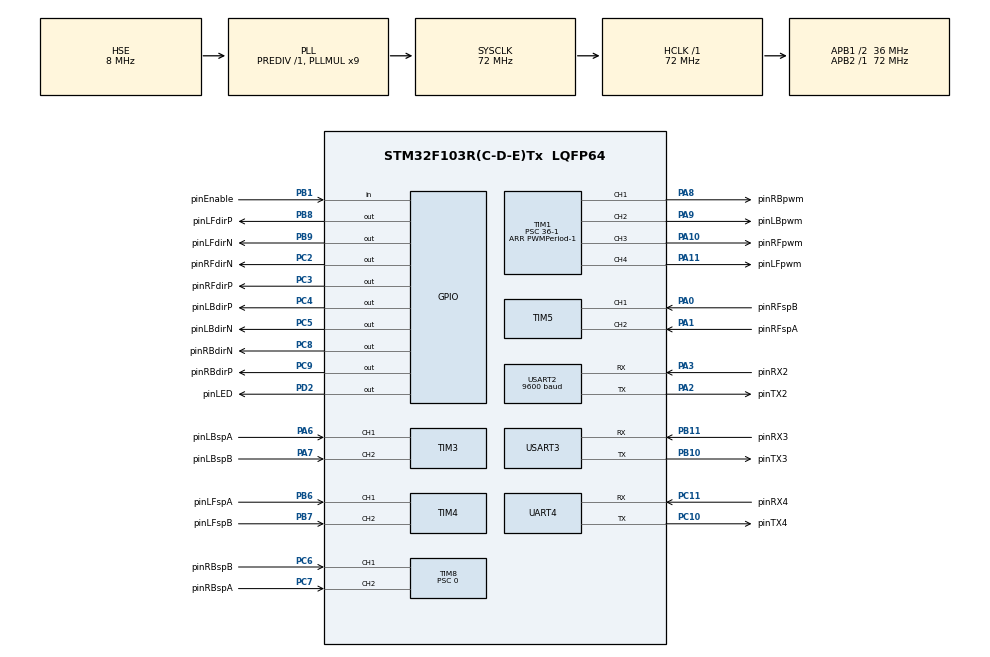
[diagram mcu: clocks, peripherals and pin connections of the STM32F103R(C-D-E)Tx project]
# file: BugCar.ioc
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Dma.Request0=UART4_RX
Dma.Request1=USART2_TX
Dma.Request2=USART3_RX
Dma.UART4_RX.0.Direction=DMA_PERIPH_TO_MEMORY
Dma.UART4_RX.0.Instance=DMA2_Channel3
Dma.UART4_RX.0.MemDataAlignment=DMA_MDATAALIGN_BYTE
Dma.UART4_RX.0.MemInc=DMA_MINC_ENABLE
Dma.UART4_RX.0.Mode=DMA_NORMAL
Dma.UART4_RX.0.PeriphDataAlignment=DMA_PDATAALIGN_BYTE
Dma.UART4_RX.0.PeriphInc=DMA_PINC_DISABLE
Dma.UART4_RX.0.Priority=DMA_PRIORITY_VERY_HIGH
Dma.USART2_TX.1.Direction=DMA_MEMORY_TO_PERIPH
Dma.USART2_TX.1.Instance=DMA1_Channel7
Dma.USART2_TX.1.MemDataAlignment=DMA_MDATAALIGN_BYTE
Dma.USART2_TX.1.MemInc=DMA_MINC_ENABLE
Dma.USART2_TX.1.Mode=DMA_NORMAL
Dma.USART2_TX.1.PeriphDataAlignment=DMA_PDATAALIGN_BYTE
Dma.USART2_TX.1.PeriphInc=DMA_PINC_DISABLE
Dma.USART2_TX.1.Priority=DMA_PRIORITY_MEDIUM
Dma.USART3_RX.2.Direction=DMA_PERIPH_TO_MEMORY
Dma.USART3_RX.2.Instance=DMA1_Channel3
Dma.USART3_RX.2.MemDataAlignment=DMA_MDATAALIGN_BYTE
Dma.USART3_RX.2.MemInc=DMA_MINC_ENABLE
Dma.USART3_RX.2.Mode=DMA_NORMAL
Dma.USART3_RX.2.PeriphDataAlignment=DMA_PDATAALIGN_BYTE
Dma.USART3_RX.2.PeriphInc=DMA_PINC_DISABLE
Dma.USART3_RX.2.Priority=DMA_PRIORITY_VERY_HIGH
Mcu.Family=STM32F1
Mcu.Name=STM32F103R(C-D-E)Tx
Mcu.Package=LQFP64
Mcu.UserConstants=PIDPeriod,5000;PWMPeriod,10800;UnitFreq,100000
NVIC.DMA1_Channel3_IRQn=true\:10\:0\:true\:false\:true\:false\:true
NVIC.DMA1_Channel7_IRQn=true\:0\:0\:true\:false\:true\:false\:true
NVIC.DMA2_Channel3_IRQn=true\:10\:0\:true\:false\:true\:false\:true
NVIC.PriorityGroup=NVIC_PRIORITYGROUP_4
NVIC.TIM2_IRQn=true\:14\:0\:true\:false\:true\:true\:true
NVIC.UART4_IRQn=true\:10\:0\:true\:false\:true\:true\:true
NVIC.USART2_IRQn=true\:0\:0\:false\:false\:true\:true\:true
NVIC.USART3_IRQn=true\:10\:0\:true\:false\:true\:true\:true
PA0-WKUP.GPIO_Label=pinRFspB
PA0-WKUP.Signal=S_TIM5_CH1
PA1.GPIO_Label=pinRFspA
PA1.Signal=S_TIM5_CH2
PA10.GPIO_Label=pinRFpwm
PA10.Signal=S_TIM1_CH3
PA11.GPIO_Label=pinLFpwm
PA11.Signal=S_TIM1_CH4
PA13.Mode=Serial_Wire
PA13.Signal=SYS_JTMS-SWDIO
PA14.Mode=Serial_Wire
PA14.Signal=SYS_JTCK-SWCLK
PA2.GPIO_Label=pinTX2
PA2.Mode=Asynchronous
PA2.Signal=USART2_TX
PA3.GPIO_Label=pinRX2
PA3.Mode=Asynchronous
PA3.Signal=USART2_RX
PA6.GPIO_Label=pinLBspA
PA6.Signal=S_TIM3_CH1
PA7.GPIO_Label=pinLBspB
PA7.Signal=S_TIM3_CH2
PA8.GPIO_Label=pinRBpwm
PA8.Signal=S_TIM1_CH1
PA9.GPIO_Label=pinLBpwm
PA9.Signal=S_TIM1_CH2
PB1.GPIO_Label=pinEnable
PB1.GPIO_PuPd=GPIO_PULLUP
PB1.Signal=GPIO_Input
PB10.GPIO_Label=pinTX3
PB10.Mode=Asynchronous
PB10.Signal=USART3_TX
PB11.GPIO_Label=pinRX3
PB11.Mode=Asynchronous
PB11.Signal=USART3_RX
PB6.GPIO_Label=pinLFspA
PB6.Signal=S_TIM4_CH1
PB7.GPIO_Label=pinLFspB
PB7.Signal=S_TIM4_CH2
PB8.GPIO_Label=pinLFdirP
PB8.Signal=GPIO_Output
PB9.GPIO_Label=pinLFdirN
PB9.Signal=GPIO_Output
PC10.GPIO_Label=pinTX4
PC10.Mode=Asynchronous
PC10.Signal=UART4_TX
PC11.GPIO_Label=pinRX4
PC11.Mode=Asynchronous
PC11.Signal=UART4_RX
PC2.GPIO_Label=pinRFdirN
PC2.Signal=GPIO_Output
PC3.GPIO_Label=pinRFdirP
PC3.Signal=GPIO_Output
PC4.GPIO_Label=pinLBdirP
PC4.Signal=GPIO_Output
PC5.GPIO_Label=pinLBdirN
PC5.Signal=GPIO_Output
PC6.GPIO_Label=pinRBspB
PC6.Signal=S_TIM8_CH1
PC7.GPIO_Label=pinRBspA
PC7.Signal=S_TIM8_CH2
PC8.GPIO_Label=pinRBdirN
PC8.Signal=GPIO_Output
PC9.GPIO_Label=pinRBdirP
PC9.Signal=GPIO_Output
PD0-OSC_IN.Mode=HSE-External-Oscillator
PD0-OSC_IN.Signal=RCC_OSC_IN
PD1-OSC_OUT.Mode=HSE-External-Oscillator
PD1-OSC_OUT.Signal=RCC_OSC_OUT
PD2.GPIO_Label=pinLED
PD2.Signal=GPIO_Output
ProjectManager.HeapSize=0x200
ProjectManager.StackSize=0x400
ProjectManager.TargetToolchain=Makefile
RCC.AHBFreq_Value=72000000
RCC.APB1CLKDivider=RCC_HCLK_DIV2
RCC.APB1Freq_Value=36000000
RCC.APB1TimFreq_Value=72000000
RCC.APB2Freq_Value=72000000
RCC.APB2TimFreq_Value=72000000
RCC.HCLKFreq_Value=72000000
RCC.PLLMUL=RCC_PLL_MUL9
RCC.PLLSourceVirtual=RCC_PLLSOURCE_HSE
RCC.SYSCLKFreq_VALUE=72000000
RCC.SYSCLKSource=RCC_SYSCLKSOURCE_PLLCLK
RCC.USBFreq_Value=72000000
SH.S_TIM1_CH1.0=TIM1_CH1,PWM Generation1 CH1
SH.S_TIM1_CH2.0=TIM1_CH2,PWM Generation2 CH2
SH.S_TIM1_CH3.0=TIM1_CH3,PWM Generation3 CH3
SH.S_TIM1_CH4.0=TIM1_CH4,PWM Generation4 CH4
SH.S_TIM3_CH1.0=TIM3_CH1,Encoder_Interface
SH.S_TIM3_CH2.0=TIM3_CH2,Encoder_Interface
SH.S_TIM4_CH1.0=TIM4_CH1,Encoder_Interface
SH.S_TIM4_CH2.0=TIM4_CH2,Encoder_Interface
SH.S_TIM5_CH1.0=TIM5_CH1,Encoder_Interface
SH.S_TIM5_CH2.0=TIM5_CH2,Encoder_Interface
SH.S_TIM8_CH1.0=TIM8_CH1,Encoder_Interface
SH.S_TIM8_CH2.0=TIM8_CH2,Encoder_Interface
TIM1.Channel-PWM\ Generation1\ CH1=TIM_CHANNEL_1
TIM1.Channel-PWM\ Generation2\ CH2=TIM_CHANNEL_2
TIM1.Channel-PWM\ Generation3\ CH3=TIM_CHANNEL_3
TIM1.Channel-PWM\ Generation4\ CH4=TIM_CHANNEL_4
TIM1.Period=PWMPeriod-1
TIM1.Prescaler=36-1
TIM2.Period=PIDPeriod-1
TIM2.Prescaler=720-1
TIM3.EncoderMode=TIM_ENCODERMODE_TI12
TIM4.EncoderMode=TIM_ENCODERMODE_TI12
TIM5.EncoderMode=TIM_ENCODERMODE_TI12
TIM8.EncoderMode=TIM_ENCODERMODE_TI12
TIM8.Period=65535
TIM8.Prescaler=0
UART4.VirtualMode=Asynchronous
USART2.BaudRate=9600
USART2.VirtualMode=VM_ASYNC
USART3.VirtualMode=VM_ASYNC
VP_TIM1_VS_ClockSourceINT.Mode=Internal
VP_TIM2_VS_ClockSourceINT.Mode=Internal
board=custom

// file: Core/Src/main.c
/* USER CODE BEGIN Header */
/**
  ******************************************************************************
  * @file           : main.c
  * @brief          : Main program body
  ******************************************************************************
  * @attention
  *
  * <h2><center>&copy; Copyright (c) 2021 STMicroelectronics.
  * All rights reserved.</center></h2>
  *
  * This software component is licensed by ST under BSD 3-Clause license,
  * the "License"; You may not use this file except in compliance with the
  * License. You may obtain a copy of the License at:
  *                        opensource.org/licenses/BSD-3-Clause
  *
  ******************************************************************************
  */
  /* USER CODE END Header */
  /* Includes ------------------------------------------------------------------*/
#include "main.h"
#include "dma.h"
#include "tim.h"
#include "usart.h"
#include "gpio.h"
#include "strategy.h"

/* USER CODE BEGIN Includes */
#include <stdbool.h>
#include "delay.h"
#include "pwm.h"
#include "gyro.h"
#include "ctrl.h"
#include "round1.h"
#include "round2.h"
#include "zigbee.h"
/* USER CODE END Includes */

/* USER CODE BEGIN PV */
uint8_t maintestcount = 0;
/* USER CODE END PV */

void SystemClock_Config(void);

/* USER CODE BEGIN 0 */
/**
 * @brief TIM中断回调函数
 * @param htim 触发中断的TIM指针
 */
void HAL_TIM_PeriodElapsedCallback(TIM_HandleTypeDef* htim) {
  if (htim == &TIM_PID) {
    TIM_PID_Callback();
  }
}

/**
 * @brief UART的中断(空闲中断)
 */
void HAL_USER_UART_IRQHandler(UART_HandleTypeDef* huart) {
  if (huart == &UART_GYRO) {
    // 确认是否为空闲中断
    if (RESET != __HAL_UART_GET_FLAG(huart, UART_FLAG_IDLE)) {
      // 清除空闲中断标志
      __HAL_UART_CLEAR_IDLEFLAG(huart);
      // 调用处理函数
      gyroMessageRecord();
    }
  }
}

/**
 * @brief 初始化
 */
void setup(void) {
  delay_init();
  gyro_init_default(&UART_GYRO);
  zigbee_Init(&huart3);
  HAL_GPIO_WritePin(pinLED_GPIO_Port, pinLED_Pin, GPIO_PIN_SET);
  delay_ms(2000);
  HAL_GPIO_WritePin(pinLED_GPIO_Port, pinLED_Pin, GPIO_PIN_RESET);
  pwm_start();
  gyro_start();
}

/**
 * @brief 主循环
 */
void loop(void) {
  // 检验小端序
  // HAL_GPIO_WritePin(pinLED_GPIO_Port, pinLED_Pin, findCPUEndian());
  // delay_ms(400);
  // HAL_GPIO_TogglePin(pinLED_GPIO_Port, pinLED_Pin);
  // delay_ms(100);

  // if (HAL_GPIO_ReadPin(pinEnable_GPIO_Port, pinEnable_Pin) == GPIO_PIN_RESET) {
  //   HAL_GPIO_TogglePin(pinLED_GPIO_Port, pinLED_Pin);
  // } else {
  //   HAL_GPIO_WritePin(pinLED_GPIO_Port, pinLED_Pin, GPIO_PIN_RESET);
  // }

  // if (HAL_GPIO_ReadPin(pinEnable_GPIO_Port, pinEnable_Pin) != GPIO_PIN_RESET) {
  //   ++maintestcount;
  //   if (maintestcount >= 5) {
  //     maintestcount -= 5;
  //     HAL_GPIO_TogglePin(pinLED_GPIO_Port, pinLED_Pin);
  //   }
  //   setSpeedStraight0();
  //   setAngle(getRealAngle());
  // } else {
  //   HAL_GPIO_WritePin(pinLED_GPIO_Port, pinLED_Pin, GPIO_PIN_RESET);
  //   setSpeedStraight0();
    // // 转弯前角度
    // float angle0 = getRealAngle();

  // if (HAL_GPIO_ReadPin(pinEnable_GPIO_Port, pinEnable_Pin) != GPIO_PIN_RESET) {
  //   ++maintestcount;
  //   if (maintestcount >= 5) {
  //     maintestcount -= 5;
  //     HAL_GPIO_TogglePin(pinLED_GPIO_Port, pinLED_Pin);
  //   }
  //   setSpeedStraight0();
  //   setAngle(getRealAngle());
  // } else {
  //   HAL_GPIO_WritePin(pinLED_GPIO_Port, pinLED_Pin, GPIO_PIN_RESET);
  //   setSpeedStraight0();

  //   // 转弯前角度
  //   float angle0 = getRealAngle();
  //   for (int i = 0;i < 12;++i) {
  //     setAngle(angle0 - 60 * (i + 1));
  //     while (!isAngleCompleted()) {
  //       if (HAL_GPIO_ReadPin(pinEnable_GPIO_Port, pinEnable_Pin) != GPIO_PIN_RESET) {
  //         return;
  //       }
  //       delay_ms(10);
  //     }
  //     HAL_GPIO_TogglePin(pinLED_GPIO_Port, pinLED_Pin);
  //     delay_ms(500);
  //   }
  //   HAL_GPIO_WritePin(pinLED_GPIO_Port, pinLED_Pin, GPIO_PIN_SET);
  //   delay_ms(5000);

    // setAngle(angle0);
    // for (int i = 0;i < 4;++i) {
    //   setSpeedStraight(40, 30);
    //   while (!isDisCompleted()) {
    //     if (HAL_GPIO_ReadPin(pinEnable_GPIO_Port, pinEnable_Pin) != GPIO_PIN_RESET) {
    //       return;
    //     }
    //     delay_ms(10);
    //   }
    //   setAngle(angle0 - 90 * (i + 1));
    //   while (!isAngleCompleted()) {
    //     if (HAL_GPIO_ReadPin(pinEnable_GPIO_Port, pinEnable_Pin) != GPIO_PIN_RESET) {
    //       return;
    //     }
    //     delay_ms(10);
    //   }
    // }
    // // 防过热暂停
    // delay_ms(1000);

    // for (int i = 0;i < 4;++i) {
    //   setAngle(angle0 + 90 * (i + 1));
    //   while (!isAngleCompleted()) {
    //     if (HAL_GPIO_ReadPin(pinEnable_GPIO_Port, pinEnable_Pin) != GPIO_PIN_RESET) {
    //       return;
    //     }
    //     delay_ms(10);
    //   }
    //   setSpeedStraight(-40, 30);
    //   while (!isDisCompleted()) {
    //     if (HAL_GPIO_ReadPin(pinEnable_GPIO_Port, pinEnable_Pin) != GPIO_PIN_RESET) {
    //       return;
    //     }
    //     delay_ms(10);
    //   }
    // }
    // // 防过热暂停
    // delay_ms(1000);
  // }
  while(!isEnable()){
    setSpeedStraight0();
    setAngle(getRealAngle());
    delay_ms(10);
  }

  if(getCarTask() == ROUND_1){
    loop1();
    // Pos dest;
    // dest.x = 50,dest.y = 0;
    // go2Point(dest);
    // dest.x = -25, dest.y = 25 * 1.7;
    // go2Point(dest);
    // dest.x = -25, dest.y = -25 * 1.7;
    // go2Point(dest);
    // int32_t i = 0;
    // for (i = 0; i < 100; ++i)
    // {
    //   if (isEnable())
    //   {
    //     delay_ms(10);
    //   }
    // }
  }

  else if (getCarTask() == ROUND_2){
    loop2();
  }

}
/* USER CODE END 0 */

int main(void) {

  /* MCU Configuration--------------------------------------------------------*/

  /* Reset of all peripherals, Initializes the Flash interface and the Systick. */
  HAL_Init();

  /* Configure the system clock */
  SystemClock_Config();

  /* Initialize all configured peripherals */
  MX_GPIO_Init();
  MX_TIM1_Init();
  MX_TIM2_Init();
  MX_TIM3_Init();
  MX_TIM5_Init();
  MX_TIM8_Init();
  MX_TIM4_Init();
  MX_DMA_Init();
  MX_USART2_UART_Init();
  MX_USART3_UART_Init();
  MX_UART4_Init();

  /* Infinite loop */
  /* USER CODE BEGIN WHILE */
  setup();
  while (1) {
    /* USER CODE END WHILE */

    /* USER CODE BEGIN 3 */
    loop();
  }
  /* USER CODE END 3 */
}

void SystemClock_Config(void) {
  RCC_OscInitTypeDef RCC_OscInitStruct = { 0 };
  RCC_ClkInitTypeDef RCC_ClkInitStruct = { 0 };

  /** Initializes the RCC Oscillators according to the specified parameters
  * in the RCC_OscInitTypeDef structure.
  */
  RCC_OscInitStruct.OscillatorType = RCC_OSCILLATORTYPE_HSE;
  RCC_OscInitStruct.HSEState = RCC_HSE_ON;
  RCC_OscInitStruct.HSEPredivValue = RCC_HSE_PREDIV_DIV1;
  RCC_OscInitStruct.HSIState = RCC_HSI_ON;
  RCC_OscInitStruct.PLL.PLLState = RCC_PLL_ON;
  RCC_OscInitStruct.PLL.PLLSource = RCC_PLLSOURCE_HSE;
  RCC_OscInitStruct.PLL.PLLMUL = RCC_PLL_MUL9;
  if (HAL_RCC_OscConfig(&RCC_OscInitStruct) != HAL_OK) {
    Error_Handler();
  }
  /** Initializes the CPU, AHB and APB buses clocks
  */
  RCC_ClkInitStruct.ClockType = RCC_CLOCKTYPE_HCLK | RCC_CLOCKTYPE_SYSCLK
    | RCC_CLOCKTYPE_PCLK1 | RCC_CLOCKTYPE_PCLK2;
  RCC_ClkInitStruct.SYSCLKSource = RCC_SYSCLKSOURCE_PLLCLK;
  RCC_ClkInitStruct.AHBCLKDivider = RCC_SYSCLK_DIV1;
  RCC_ClkInitStruct.APB1CLKDivider = RCC_HCLK_DIV2;
  RCC_ClkInitStruct.APB2CLKDivider = RCC_HCLK_DIV1;

  if (HAL_RCC_ClockConfig(&RCC_ClkInitStruct, FLASH_LATENCY_2) != HAL_OK) {
    Error_Handler();
  }
}

void Error_Handler(void) {
  __disable_irq();
  while (1) {
  }
}

/************************ (C) COPYRIGHT STMicroelectronics *****END OF FILE****/
